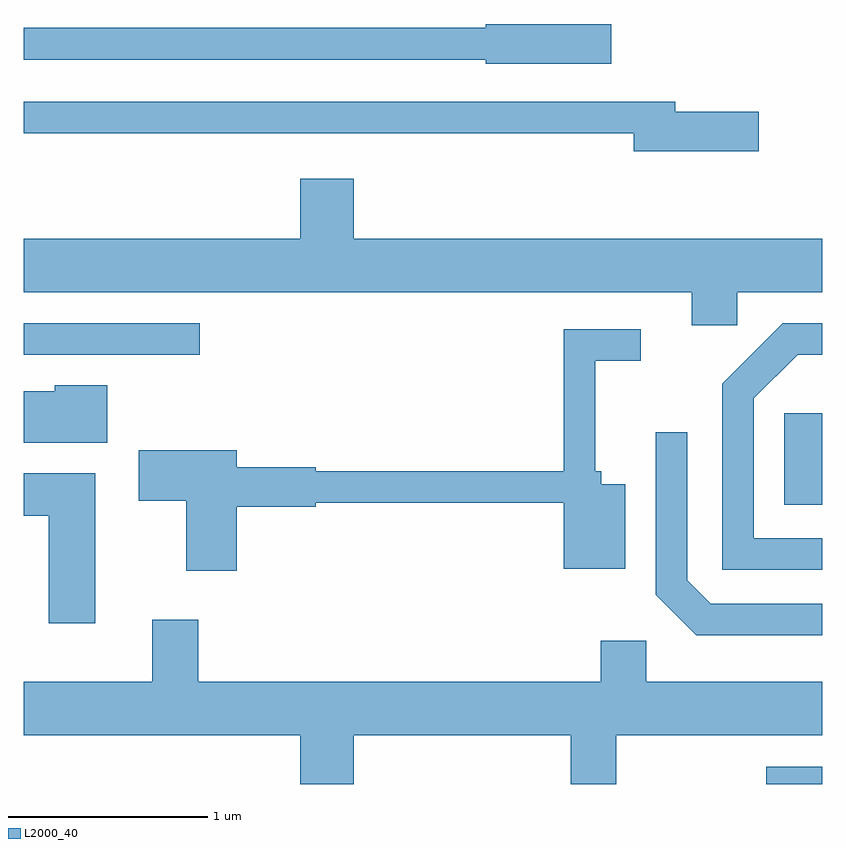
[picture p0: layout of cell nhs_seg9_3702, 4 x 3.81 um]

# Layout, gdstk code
import gdstk
lib = gdstk.Library(unit=1e-6, precision=1e-09)
def R(c, l, rs):  # rectangles x0, y0, x1, y1
    for r in rs: c.add(gdstk.rectangle(r[:2], r[2:], *l))
def P(c, l, *ps):  # polygons
    for p in ps: c.add(gdstk.Polygon(p, *l))
L2000_40 = (2000, 40)

nhs_seg9_3702 = lib.new_cell('nhs_seg9_3702')
R(nhs_seg9_3702, L2000_40, [(297.331,2020.432,297.611,2020.519), (297.421,2021.831,297.611,2022.289), (293.611,2022.581,294.493,2022.739)])
P(nhs_seg9_3702, L2000_40, [(296.554,2024.239),(295.926,2024.239),(295.926,2024.219),(293.611,2024.219),(293.611,2024.061),(295.926,2024.061),(295.926,2024.041),(296.554,2024.041)],
  [(297.294,2023.799),(296.874,2023.799),(296.874,2023.849),(293.611,2023.849),(293.611,2023.691),(296.666,2023.691),(296.666,2023.601),(297.294,2023.601)],
  [(297.184,2022.896),(297.611,2022.896),(297.611,2023.164),(295.264,2023.164),(295.264,2023.464),(294.996,2023.464),(294.996,2023.164),(293.611,2023.164),(293.611,2022.896),(296.956,2022.896),(296.956,2022.731),(297.184,2022.731)],
  [(297.611,2021.664),(297.269,2021.664),(297.269,2022.364),(297.487,2022.581),(297.611,2022.581),(297.611,2022.739),(297.414,2022.739),(297.111,2022.437),(297.111,2021.506),(297.611,2021.506)],
  [(294.679,2021.821),(295.074,2021.821),(295.074,2021.841),(296.316,2021.841),(296.316,2021.511),(296.624,2021.511),(296.624,2021.934),(296.504,2021.934),(296.504,2021.999),(296.474,2021.999),(296.474,2022.551),(296.703,2022.551),(296.703,2022.709),(296.316,2022.709),(296.316,2021.999),(295.074,2021.999),(295.074,2022.019),(294.679,2022.019),(294.679,2022.104),(294.186,2022.104),(294.186,2021.851),(294.426,2021.851),(294.426,2021.501),(294.679,2021.501)],
  [(294.029,2022.429),(293.766,2022.429),(293.766,2022.399),(293.611,2022.399),(293.611,2022.141),(294.029,2022.141)],
  [(297.611,2021.334),(297.052,2021.334),(296.934,2021.452),(296.934,2022.193),(296.776,2022.193),(296.776,2021.379),(296.979,2021.176),(297.611,2021.176)],
  [(293.969,2021.989),(293.611,2021.989),(293.611,2021.776),(293.736,2021.776),(293.736,2021.236),(293.969,2021.236)],
  [(294.996,2020.432),(295.264,2020.432),(295.264,2020.676),(296.351,2020.676),(296.351,2020.432),(296.579,2020.432),(296.579,2020.676),(297.611,2020.676),(297.611,2020.944),(296.729,2020.944),(296.729,2021.149),(296.501,2021.149),(296.501,2020.944),(294.484,2020.944),(294.484,2021.254),(294.256,2021.254),(294.256,2020.944),(293.611,2020.944),(293.611,2020.676),(294.996,2020.676)])

lib.write_gds('nhs_seg9_3702.gds')
